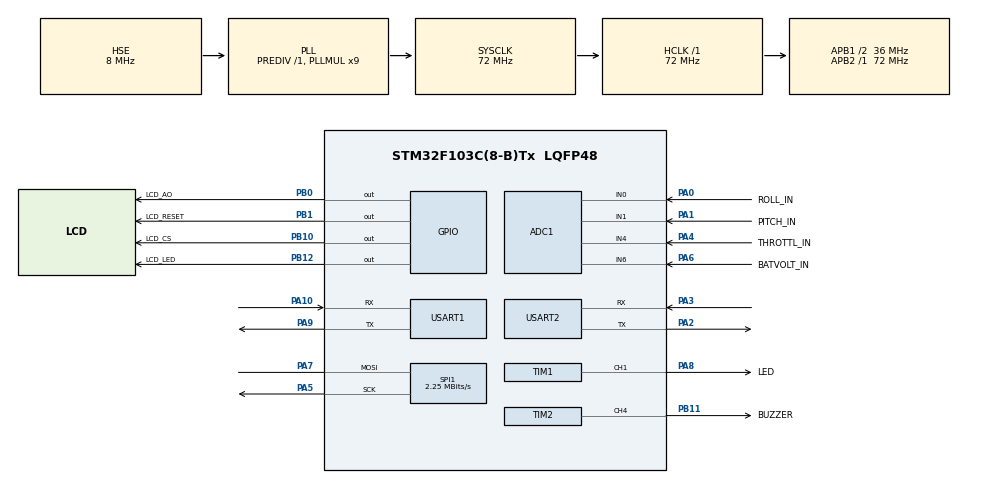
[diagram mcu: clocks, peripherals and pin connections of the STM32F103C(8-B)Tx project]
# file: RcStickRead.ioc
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ADC1.Channel-0\#ChannelRegularConversion=ADC_CHANNEL_0
ADC1.Channel-1\#ChannelRegularConversion=ADC_CHANNEL_1
ADC1.Channel-2\#ChannelRegularConversion=ADC_CHANNEL_4
ADC1.Channel-3\#ChannelRegularConversion=ADC_CHANNEL_6
ADC1.ContinuousConvMode=DISABLE
ADC1.DataAlign=ADC_DATAALIGN_RIGHT
ADC1.DiscontinuousConvMode=DISABLE
ADC1.EnableAnalogWatchDog=false
ADC1.EnableRegularConversion=ENABLE
ADC1.ExternalTrigConvEdgeChoice=NONE
ADC1.InjNumberOfConversion=0
ADC1.NbrOfConversion=4
ADC1.NbrOfConversionFlag=1
ADC1.Rank-0\#ChannelRegularConversion=1
ADC1.Rank-1\#ChannelRegularConversion=2
ADC1.Rank-2\#ChannelRegularConversion=3
ADC1.Rank-3\#ChannelRegularConversion=4
ADC1.SamplingTime-0\#ChannelRegularConversion=ADC_SAMPLETIME_1CYCLE_5
ADC1.SamplingTime-1\#ChannelRegularConversion=ADC_SAMPLETIME_1CYCLE_5
ADC1.SamplingTime-2\#ChannelRegularConversion=ADC_SAMPLETIME_1CYCLE_5
ADC1.SamplingTime-3\#ChannelRegularConversion=ADC_SAMPLETIME_1CYCLE_5
ADC1.ScanConvMode=ADC_SCAN_ENABLE
ADC1.master=1
Dma.ADC1.0.Direction=DMA_PERIPH_TO_MEMORY
Dma.ADC1.0.Instance=DMA1_Channel1
Dma.ADC1.0.MemDataAlignment=DMA_MDATAALIGN_WORD
Dma.ADC1.0.MemInc=DMA_MINC_ENABLE
Dma.ADC1.0.Mode=DMA_NORMAL
Dma.ADC1.0.PeriphDataAlignment=DMA_PDATAALIGN_WORD
Dma.ADC1.0.PeriphInc=DMA_PINC_DISABLE
Dma.ADC1.0.Priority=DMA_PRIORITY_LOW
Dma.Request0=ADC1
Mcu.Family=STM32F1
Mcu.Name=STM32F103C(8-B)Tx
Mcu.Package=LQFP48
NVIC.DMA1_Channel1_IRQn=true\:0\:0\:false\:false\:true
NVIC.PriorityGroup=NVIC_PRIORITYGROUP_4
NVIC.USART1_IRQn=true\:0\:0\:false\:false\:true
PA0-WKUP.GPIO_Label=ROLL_IN
PA0-WKUP.Signal=ADCx_IN0
PA1.GPIO_Label=PITCH_IN
PA1.Signal=ADCx_IN1
PA10.Mode=Asynchronous
PA10.Signal=USART1_RX
PA13.Mode=Serial_Wire
PA13.Signal=SYS_JTMS-SWDIO
PA14.Mode=Serial_Wire
PA14.Signal=SYS_JTCK-SWCLK
PA2.Mode=Asynchronous
PA2.Signal=USART2_TX
PA3.Mode=Asynchronous
PA3.Signal=USART2_RX
PA4.GPIO_Label=THROTTL_IN
PA4.Signal=ADCx_IN4
PA5.Mode=Simplex_Bidirectional_Master
PA5.Signal=SPI1_SCK
PA6.GPIO_Label=BATVOLT_IN
PA6.Signal=ADCx_IN6
PA7.Mode=Simplex_Bidirectional_Master
PA7.Signal=SPI1_MOSI
PA8.GPIO_Label=LED
PA8.GPIO_Speed=GPIO_SPEED_FREQ_HIGH
PA8.Signal=S_TIM1_CH1
PA9.Mode=Asynchronous
PA9.Signal=USART1_TX
PB0.GPIO_Label=LCD_AO
PB0.Signal=GPIO_Output
PB1.GPIO_Label=LCD_RESET
PB1.PinState=GPIO_PIN_SET
PB1.Signal=GPIO_Output
PB10.GPIO_Label=LCD_CS
PB10.GPIO_Speed=GPIO_SPEED_FREQ_MEDIUM
PB10.PinState=GPIO_PIN_SET
PB10.Signal=GPIO_Output
PB11.GPIO_Label=BUZZER
PB11.GPIO_Speed=GPIO_SPEED_FREQ_HIGH
PB11.Signal=S_TIM2_CH4
PB12.GPIO_Label=LCD_LED
PB12.PinState=GPIO_PIN_SET
PB12.Signal=GPIO_Output
PC14-OSC32_IN.Mode=LSE-External-Oscillator
PC14-OSC32_IN.Signal=RCC_OSC32_IN
PC15-OSC32_OUT.Mode=LSE-External-Oscillator
PC15-OSC32_OUT.Signal=RCC_OSC32_OUT
PD0-OSC_IN.Mode=HSE-External-Oscillator
PD0-OSC_IN.Signal=RCC_OSC_IN
PD1-OSC_OUT.Mode=HSE-External-Oscillator
PD1-OSC_OUT.Signal=RCC_OSC_OUT
ProjectManager.HeapSize=0x200
ProjectManager.StackSize=0x400
ProjectManager.TargetToolchain=MDK-ARM V5
RCC.ADCPresc=RCC_ADCPCLK2_DIV6
RCC.AHBFreq_Value=72000000
RCC.APB1CLKDivider=RCC_HCLK_DIV2
RCC.APB1Freq_Value=36000000
RCC.APB1TimFreq_Value=72000000
RCC.APB2Freq_Value=72000000
RCC.APB2TimFreq_Value=72000000
RCC.HCLKFreq_Value=72000000
RCC.HSIState=RCC_HSI_ON
RCC.PLLMUL=RCC_PLL_MUL9
RCC.PLLSourceVirtual=RCC_PLLSOURCE_HSE
RCC.SYSCLKFreq_VALUE=72000000
RCC.SYSCLKSource=RCC_SYSCLKSOURCE_PLLCLK
RCC.USBFreq_Value=72000000
SH.ADCx_IN0.0=ADC1_IN0,IN0
SH.ADCx_IN1.0=ADC1_IN1,IN1
SH.ADCx_IN4.0=ADC1_IN4,IN4
SH.ADCx_IN6.0=ADC1_IN6,IN6
SH.S_TIM1_CH1.0=TIM1_CH1,PWM Generation1 CH1
SH.S_TIM2_CH4.0=TIM2_CH4,PWM Generation4 CH4
SPI1.BaudRatePrescaler=SPI_BAUDRATEPRESCALER_32
SPI1.CalculateBaudRate=2.25 MBits/s
SPI1.Direction=SPI_DIRECTION_1LINE
SPI1.Mode=SPI_MODE_MASTER
TIM1.ClockDivision=TIM_CLOCKDIVISION_DIV4
TIM1.Period=1000
TIM1.Prescaler=72
TIM1.Pulse-PWM\ Generation1\ CH1=300
TIM2.Channel-PWM\ Generation4\ CH4=TIM_CHANNEL_4
TIM2.ClockDivision=TIM_CLOCKDIVISION_DIV1
TIM2.Period=1000
TIM2.Prescaler=72
TIM2.Pulse-PWM\ Generation4\ CH4=500
VP_TIM1_VS_ClockSourceINT.Mode=Internal
VP_TIM2_VS_ClockSourceINT.Mode=Internal
board=RcStickRead

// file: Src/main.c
/**
  ******************************************************************************
  * File Name          : main.c
  * Description        : Main program body
  ******************************************************************************
  *
  * COPYRIGHT(c) 2016 STMicroelectronics
  *
  * Redistribution and use in source and binary forms, with or without modification,
  * are permitted provided that the following conditions are met:
  *   1. Redistributions of source code must retain the above copyright notice,
  *      this list of conditions and the following disclaimer.
  *   2. Redistributions in binary form must reproduce the above copyright notice,
  *      this list of conditions and the following disclaimer in the documentation
  *      and/or other materials provided with the distribution.
  *   3. Neither the name of STMicroelectronics nor the names of its contributors
  *      may be used to endorse or promote products derived from this software
  *      without specific prior written permission.
  *
  * THIS SOFTWARE IS PROVIDED BY THE COPYRIGHT HOLDERS AND CONTRIBUTORS "AS IS"
  * AND ANY EXPRESS OR IMPLIED WARRANTIES, INCLUDING, BUT NOT LIMITED TO, THE
  * IMPLIED WARRANTIES OF MERCHANTABILITY AND FITNESS FOR A PARTICULAR PURPOSE ARE
  * DISCLAIMED. IN NO EVENT SHALL THE COPYRIGHT HOLDER OR CONTRIBUTORS BE LIABLE
  * FOR ANY DIRECT, INDIRECT, INCIDENTAL, SPECIAL, EXEMPLARY, OR CONSEQUENTIAL
  * DAMAGES (INCLUDING, BUT NOT LIMITED TO, PROCUREMENT OF SUBSTITUTE GOODS OR
  * SERVICES; LOSS OF USE, DATA, OR PROFITS; OR BUSINESS INTERRUPTION) HOWEVER
  * CAUSED AND ON ANY THEORY OF LIABILITY, WHETHER IN CONTRACT, STRICT LIABILITY,
  * OR TORT (INCLUDING NEGLIGENCE OR OTHERWISE) ARISING IN ANY WAY OUT OF THE USE
  * OF THIS SOFTWARE, EVEN IF ADVISED OF THE POSSIBILITY OF SUCH DAMAGE.
  *
  ******************************************************************************
  */
#include "stm32f1xx_hal.h"

/* USER CODE BEGIN Includes */
#include "string.h"
#include "data_type.h"
#include "lcd.h"
/* USER CODE END Includes */

ADC_HandleTypeDef hadc1;
DMA_HandleTypeDef hdma_adc1;

SPI_HandleTypeDef hspi1;

TIM_HandleTypeDef htim1;
TIM_HandleTypeDef htim2;

UART_HandleTypeDef huart1;
UART_HandleTypeDef huart2;

/* USER CODE BEGIN PV */
/* Private variables ---------------------------------------------------------*/
#define RECEIVE_OUTTIME 100
#define TRANSMIT_OUTTIME 100

/* ADC定义 */
#define ADCCONVERTEDVALUES_BUFFER_SIZE 4
#define ADC_Uref    3.3

/* 摇杆定义 */
#define   RC_STICK_ROLL_U_MAX   2.70
#define   RC_STICK_ROLL_U_MID   1.72
#define   RC_STICK_ROLL_U_MIN   0.74

#define   RC_STICK_PITCH_U_MAX   2.67
#define   RC_STICK_PITCH_U_MID   1.63
#define   RC_STICK_PITCH_U_MIN   0.54

#define   RC_STICK_THROTTLE_U_MAX   2.70
#define   RC_STICK_THROTTLE_U_MID   0.72
#define   RC_STICK_THROTTLE_U_MIN   0.00

/* 定义最大仿真范围 */
#define RADIUS_MAX    300
#define HIGHT_MAX    500

/* 方向偏移量设定 */
#define   X_OFFSET  80
#define   Y_OFFSET  10
#define   Z_OFFSET  -80

/* ADC采集值保存 */
uint32_t adc_value[ADCCONVERTEDVALUES_BUFFER_SIZE];

/* 低报警电压 */
#define V_BAT_LOW 3.4

/* 延时时间，可通过串口更新 */
uint8_t   gDelayTime=10;

/* USER CODE END PV */

void SystemClock_Config(void);
void Error_Handler(void);
static void MX_GPIO_Init(void);
static void MX_DMA_Init(void);
static void MX_ADC1_Init(void);
static void MX_USART1_UART_Init(void);
static void MX_USART2_UART_Init(void);
static void MX_SPI1_Init(void);
static void MX_TIM1_Init(void);
static void MX_TIM2_Init(void);

void HAL_TIM_MspPostInit(TIM_HandleTypeDef *htim);

/* USER CODE BEGIN PFP */
/* Private function prototypes -----------------------------------------------*/

/* USER CODE END PFP */

/* USER CODE BEGIN 0 */

/*************************************************************
* @brief 开启/关闭蜂鸣器
* @param value: 音量等级 0-1000
* @retval none
**************************************************************/
void BuzzerControl(uint16_t value)
{
  if( value)
  {
    /* Timer Output Compare Configuration Structure declaration */
    TIM_OC_InitTypeDef sConfig;

    sConfig.OCMode       = TIM_OCMODE_PWM1;
    sConfig.OCPolarity   = TIM_OCPOLARITY_HIGH;
    sConfig.OCFastMode   = TIM_OCFAST_DISABLE;
    sConfig.OCNPolarity  = TIM_OCNPOLARITY_HIGH;
    sConfig.OCNIdleState = TIM_OCNIDLESTATE_RESET;

    sConfig.OCIdleState  = TIM_OCIDLESTATE_RESET;

    /* Set the pulse value for channel 1 */
    sConfig.Pulse = value;
    if (HAL_TIM_PWM_ConfigChannel(&htim2, &sConfig, TIM_CHANNEL_4) != HAL_OK)
    {
      /* Configuration Error */
      Error_Handler();
    }

    /* Start channel 1 */
    if(HAL_TIM_PWM_Start(&htim2, TIM_CHANNEL_4) != HAL_OK)
    {
      /* Starting Error */
      Error_Handler();
    }
  }
  else
  {
        /* Stop channel 1 */
    if(HAL_TIM_PWM_Stop(&htim2, TIM_CHANNEL_4) != HAL_OK)
    {
      /* Starting Error */
      Error_Handler();
    }

  }
}

/*************************************************************
* @brief 开启/关闭LED等
* @param value: 0-1000，调节LED 亮度
* @retval none
**************************************************************/
void LEDControl(uint16_t value)
{
  if( value)
  {
    /* Timer Output Compare Configuration Structure declaration */
    TIM_OC_InitTypeDef sConfig;

    sConfig.OCMode       = TIM_OCMODE_PWM1;
    sConfig.OCPolarity   = TIM_OCPOLARITY_HIGH;
    sConfig.OCFastMode   = TIM_OCFAST_DISABLE;
    sConfig.OCNPolarity  = TIM_OCNPOLARITY_HIGH;
    sConfig.OCNIdleState = TIM_OCNIDLESTATE_RESET;

    sConfig.OCIdleState  = TIM_OCIDLESTATE_RESET;

    /* Set the pulse value for channel 1 */
    sConfig.Pulse = value;
    if (HAL_TIM_PWM_ConfigChannel(&htim1, &sConfig, TIM_CHANNEL_1) != HAL_OK)
    {
      /* Configuration Error */
      Error_Handler();
    }

    /* Start channel 1 */
    if(HAL_TIM_PWM_Start(&htim1, TIM_CHANNEL_1) != HAL_OK)
    {
      /* Starting Error */
      Error_Handler();
    }
  }
  else
  {
        /* Stop channel 1 */
    if(HAL_TIM_PWM_Stop(&htim1, TIM_CHANNEL_1) != HAL_OK)
    {
      /* Starting Error */
      Error_Handler();
    }

  }
}

/*************************************************************
* @brief BSP_USART_SendData 串口发送字符
* @param ch:待发送字符
* @arg
* @retval 发送成功标志位
**************************************************************/
HAL_StatusTypeDef BSP_USART_SendData(UART_HandleTypeDef *huart, uint8_t ch)
{

  /*等待上次发送完成*/
  while( (HAL_UART_STATE_BUSY_TX == HAL_UART_GetState(huart) )||(HAL_UART_STATE_BUSY_TX_RX == HAL_UART_GetState(huart)) );

  /*开始发送数据-阻塞方式*/
  if( HAL_UART_Transmit(huart, &ch, 1,TRANSMIT_OUTTIME) == HAL_UART_STATE_TIMEOUT )
    return HAL_TIMEOUT; /*发送超时*/

  return HAL_OK;
}

/*************************************************************
* @brief BSP_USART_SendArray 串口发送字符串
* @param ptr:待发送数组，size：发送的字节数
* @arg
* @retval 发送状态标识
**************************************************************/
HAL_StatusTypeDef BSP_USART_SendArray(UART_HandleTypeDef *huart,  uint8_t* ptr,uint16_t size)
{
  if(NULL == ptr)
    return HAL_ERROR;

  if(size)
  {
    /*等待上次发送完成*/
    while( (HAL_UART_STATE_BUSY_TX == HAL_UART_GetState(huart) )||(HAL_UART_STATE_BUSY_TX_RX == HAL_UART_GetState(huart)) );

    /*开始发送数据-阻塞方式*/
    if( HAL_UART_Transmit(huart, ptr, size,TRANSMIT_OUTTIME) == HAL_UART_STATE_TIMEOUT )
      return HAL_TIMEOUT; /*发送超时*/

  }

  return HAL_OK;
}

/*************************************************************
* @brief BSP_USART_SendData 串口接收一个字符
* @param
* @arg
* @retval ch: 返回接收到的字符
**************************************************************/
uint8_t BSP_USART_ReceiveData(UART_HandleTypeDef *huart )
{
  uint8_t ch;

  /*等待上次接收完成*/
  while( (HAL_UART_STATE_BUSY_RX == HAL_UART_GetState(huart) )||(HAL_UART_STATE_BUSY_TX_RX  == HAL_UART_GetState(huart)) );

  /*开始接收数据*/
  if( HAL_UART_STATE_TIMEOUT  ==  HAL_UART_Receive(huart, &ch, 1,RECEIVE_OUTTIME) )
    return 0;//HAL_TIMEOUT; /*接收超时，返回0*/

  return ch;
}

/*************************************************************
* @brief BSP_USART_ReceiveArray 串口发送字符
* @param huart：句柄，ptr:待存放数组，size：发送的字节数
* @arg
* @retval 接收状态标识
**************************************************************/
HAL_StatusTypeDef BSP_USART_ReceiveArray(UART_HandleTypeDef *huart,  uint8_t* ptr,uint16_t size)
{
  if(NULL == ptr)
    return HAL_ERROR;

  if(size)
  {
    /*等待上次接收完成*/
    while( (HAL_UART_STATE_BUSY_RX == HAL_UART_GetState(huart) )||(HAL_UART_STATE_BUSY_TX_RX  == HAL_UART_GetState(huart)) );

    /*开始接收数据*/
    if(HAL_UART_STATE_TIMEOUT  ==  HAL_UART_Receive(huart, ptr, size ,RECEIVE_OUTTIME) )
      return HAL_TIMEOUT;//; /*接收超时，返回0*/

  }

  return HAL_OK;
}

/*
 * 函数名：fputc
 * 描述  ：重定向c库函数printf到USART1
 * 输入  ：无
 * 输出  ：无
 * 调用  ：由printf调用
 */
int fputc(int ch, FILE *f)
{

  /* 将Printf内容发往串口 */
  BSP_USART_SendData( &huart1, ch );

	return (ch);
}

/**
  * @brief  对数据进行校验，获取校验值
  * @param  ptr: 待校验数据指针
  * @param  len: 待校验数据长度
  *
  * @retval uint8_t: 校验值
  */
uint8_t doSumCheck(uint8_t* ptr, uint8_t len )
{
  uint8_t sum;
  uint8_t i;

  sum = 0;
  for ( i=0;i<len;i++ )
  {
    sum += *ptr++;
  }

  return sum;
}

/**
  * @brief  将数据 SensorData_t 发送出去
  * @param  SensorData:  待发送的数据内容
  *
  * @retval 无（死循环）
  */
void DataParse_PutData(SensorData_t* SensorData)
{
  Protocol_SensorPack_t Protocol_SensorPack;

  /* 填写帧文件头 */
  Protocol_SensorPack.header0 = SENSOR_PROTOCOL_PACK_HEADER0;
  Protocol_SensorPack.header1 = SENSOR_PROTOCOL_PACK_HEADER1;

  /* 填写帧数据区长度字段*/
  Protocol_SensorPack.length      = SENSOR_PROTOCOL_PACK_MAX_DATA_LEN ;

  /* 将要发送的数据复制到数据区 */
  memcpy( &Protocol_SensorPack.sensor_data, SensorData, Protocol_SensorPack.length );

  /* 计算并填写校验字 */
  Protocol_SensorPack.sum = doSumCheck( (uint8_t*)&Protocol_SensorPack.sensor_data, Protocol_SensorPack.length );

  /* 数据发送 */
  BSP_USART_SendArray( &huart2,  (uint8_t*)&Protocol_SensorPack, SENSOR_PROTOCOL_PACK_MAX_SIZE );

}

/*显示信息*/
void  LCD_DispData( SensorData_t* SensorData)
{
  BACK_COLOR  = LCD_COLOR_WHITE;
  POINT_COLOR = LCD_COLOR_DARKBLUE;

  LCD_ShowString(10,70,"X:");
  LCD_ShowString(10,90,"Y:");
  LCD_ShowString(10,110,"Z:");

  if( SensorData->x < 0 )
  {
    LCD_ShowChar(40,70,'-',0);
    SensorData->x = -SensorData->x;
  }else
  {
    LCD_ShowChar(40,70,' ',0);
  }

  if( SensorData->y < 0 )
  {
    LCD_ShowChar(40,90,'-',0);
    SensorData->y = -SensorData->y;
  }
  else
  {
    LCD_ShowChar(40,90,' ',0);
  }

  if( SensorData->z < 0 )
  {
    LCD_ShowChar(40,110,'-',0);
    SensorData->z = -SensorData->z;
  }
  else
  {
    LCD_ShowChar(40,110,' ',0);
  }
  LCD_ShowNum(50, 70, SensorData->x ,3 );
  LCD_ShowNum(50, 90, SensorData->y ,3 );
  LCD_ShowNum(50, 110, SensorData->z ,3 );
}

/*  */

/*************************************************************
* @brief 读取摇杆状态，输出模拟坐标值
* @param pSensorData: 数据保存位置
* @retval float 返回电池电压值，如果该值不为0，可以证明本次执行正常
**************************************************************/
float  ReadRcStick( SensorData_t* pSensorData )
{
    uint32_t adc_value_roll;
    uint32_t adc_value_pitch;
    uint32_t adc_value_throttle;
    uint32_t adc_value_vbat;

    float u_roll;
    float u_pitch;
    float u_throttle;
    float u_vbat;

      /* 连续采集 NUM_SAMPLES 次数据，计算平均值 */
#define NUM_SAMPLES   10
    adc_value_roll     = 0;
    adc_value_pitch    = 0;
    adc_value_throttle = 0;
    adc_value_vbat = 0;

    uint16_t i;
    for(i=0;i<NUM_SAMPLES;i++)
    {
      /* 读ADC值 */
      HAL_ADC_Start_DMA( &hadc1,adc_value,ADCCONVERTEDVALUES_BUFFER_SIZE);
      adc_value_roll     += adc_value[0];
      adc_value_pitch    += adc_value[1];
      adc_value_throttle += adc_value[2];
      adc_value_vbat += adc_value[3];
//      HAL_Delay(1);
    }
    adc_value_roll     /= NUM_SAMPLES;
    adc_value_pitch    /= NUM_SAMPLES;
    adc_value_throttle /= NUM_SAMPLES;
    adc_value_vbat     /= NUM_SAMPLES;

    /* 数据转换 */
    u_roll      = ( (adc_value_roll*ADC_Uref/4096    ) ) ;
    u_pitch     = ( (adc_value_pitch*ADC_Uref/4096   ) ) ;
    u_throttle  = ( (adc_value_throttle*ADC_Uref/4096) ) ;    //0.45为固定偏移量
    u_vbat  = ( 2*(adc_value_vbat*ADC_Uref/4096) ) ;          //采集前经过分压

    /* 打印结果 */
//    printf("AdcData=(%f,%f,%f)\n", u_roll, u_pitch, u_throttle);

    /* 数据转换 */
    if( u_roll > RC_STICK_ROLL_U_MID)
    {
      pSensorData->x  = (int16_t)(RADIUS_MAX*(u_roll    -  RC_STICK_ROLL_U_MID    )/( RC_STICK_ROLL_U_MAX  -  RC_STICK_ROLL_U_MID      ) );
    }else
    {
      pSensorData->x  = (int16_t)(RADIUS_MAX*(u_roll    -  RC_STICK_ROLL_U_MID    )/( RC_STICK_ROLL_U_MID  - RC_STICK_ROLL_U_MIN       ) );
    }

    if( u_pitch > RC_STICK_PITCH_U_MID)
    {
      pSensorData->y  = (int16_t)(RADIUS_MAX*(u_pitch   -  RC_STICK_PITCH_U_MID    )/( RC_STICK_PITCH_U_MAX  -  RC_STICK_PITCH_U_MID  ) );
    }else
    {
      pSensorData->y  = (int16_t)(RADIUS_MAX*(u_pitch   -  RC_STICK_PITCH_U_MID    )/( RC_STICK_PITCH_U_MID  - RC_STICK_PITCH_U_MIN    ) );
    }

    if( u_throttle > RC_STICK_THROTTLE_U_MIN)
    {
      pSensorData->z  = (int16_t)( HIGHT_MAX*(u_throttle )/( RC_STICK_THROTTLE_U_MAX ) );
    }

    /* TODO::根据设定的平移量调整 */
    pSensorData->x += X_OFFSET ;
    pSensorData->y += Y_OFFSET ;
    pSensorData->z += Z_OFFSET ;

    return u_vbat;
}

/* 上电检查摇杆状态，如果摇杆默认偏移较大，不予启动 */
void CheckRcStick(SensorData_t* pSensorData)
{
  uint16_t counter;
  uint8_t flg;

  counter = 0;
  flg = 0;
  while(1)
  {
    /* 读ADC值 */
    ReadRcStick( pSensorData );
    if( 0==counter%500 )
    {
      LCD_DispData( pSensorData);
    }
    else  if( 0==counter%800 )
    {
      if(flg)
      {
        POINT_COLOR = LCD_COLOR_RED;
        LCD_ShowString(0,50,"Adjust Stick!!");
        flg = 0;
      }else
      {
        POINT_COLOR = LCD_COLOR_RED;
        LCD_ShowString(0,50,"              ");
        flg = 1;
      }

    }

    /* 判断输出位置是否合适 */
    if( (pSensorData->z < 150) || (pSensorData->z > HIGHT_MAX) )
    {
      LEDControl( ((counter%500)/250)*10 );
      BuzzerControl(counter%999+1);
    }else if( ( pSensorData->y > 50)||( pSensorData->y <(-50)))
    {
      LEDControl( ((counter%500)/250)*10 );
      BuzzerControl(counter%999+1);
    }else if( (pSensorData->x > 50)||(pSensorData->x <-50))
    {
      LEDControl( ((counter%500)/250)*10 );
      BuzzerControl(counter%999+1);
    }
    else
    {
      LEDControl( 0 );
      BuzzerControl(0);

      POINT_COLOR = LCD_COLOR_RED;
      LCD_ShowString(0,50,"              ");
      break;
    }

    counter++;

  }
}

/* USER CODE END 0 */

int main(void)
{

  /* USER CODE BEGIN 1 */
  SensorData_t last_SensorData;
  SensorData_t SensorData;
  uint32_t tickstart = 0;
  uint32_t tickStickChanged = 0;
  uint8_t  StateIndicateFlag;
  float vbat;               /* 电池电压 */

  /* USER CODE END 1 */

  /* MCU Configuration----------------------------------------------------------*/

  /* Reset of all peripherals, Initializes the Flash interface and the Systick. */
  HAL_Init();

  /* Configure the system clock */
  SystemClock_Config();

  /* Initialize all configured peripherals */
  MX_GPIO_Init();
  MX_DMA_Init();
  MX_ADC1_Init();
  MX_USART1_UART_Init();
  MX_USART2_UART_Init();
  MX_SPI1_Init();
  MX_TIM1_Init();
  MX_TIM2_Init();

  /* USER CODE BEGIN 2 */
  HAL_UART_Receive_IT(&huart1,&gDelayTime,1);

  Lcd_Init();   //tft初始化
  LCD_Clear( LCD_COLOR_WHITE ); //清屏
  BACK_COLOR  = LCD_COLOR_BLACK;
  POINT_COLOR = LCD_COLOR_WHITE;
  LCD_ShowString(8,0,"COORDINATE");
  LCD_ShowString(40,16,"SIMULATION");
  BACK_COLOR  = LCD_COLOR_WHITE;
  POINT_COLOR = LCD_COLOR_BLACK;
  LCD_ShowString(0,32,"===============");

  /* 检查摇杆范围 */
  CheckRcStick( &SensorData );

  /* USER CODE END 2 */

  /* Infinite loop */
  while (1)
  {

  /* USER CODE BEGIN 3 */

    /* 读ADC值 */
    vbat = ReadRcStick( &SensorData );

    /* TODO::此处仅为了测试处理 */
    SensorData.x = -SensorData.x;
    SensorData.y = -SensorData.y;
    SensorData.z =  SensorData.z;

    /* 发送数据 */
    DataParse_PutData(&SensorData);
    printf("SensorData=(%d,%d,%d)\n",SensorData.x,SensorData.y,SensorData.z);
    LCD_DispData( &SensorData);

    /* 摇杆相对位移动作较小，超过60s，自动关闭显示器 */
    if( (HAL_GetTick() - tickStickChanged) > 60000 )
    {
      LCD_ControlLED(0);
    }

    if( ((SensorData.x*SensorData.x + SensorData.y*SensorData.y ) \
      - (last_SensorData.x*last_SensorData.x + last_SensorData.y*last_SensorData.y )) > 80 )
    {
      tickStickChanged = HAL_GetTick();
      LCD_ControlLED(1);
    }

    /* 保存本次测量结果 */
    memcpy( &last_SensorData,&SensorData, sizeof(SensorData_t) );

    /* 运行状态指示 */
    if( (HAL_GetTick() - tickstart) > 2500 )
    {
      tickstart = HAL_GetTick();

      /* 检查系统电量 */
      if( vbat < V_BAT_LOW )
      {

        if(StateIndicateFlag)
        {
          LEDControl( 20 );
          if( vbat < 3.32) BuzzerControl(400);
          POINT_COLOR = LCD_COLOR_RED;
          LCD_ShowString(0,50,"Low Battery!!");

        }else
        {
          LEDControl( 0 );
          if( vbat < 3.4) BuzzerControl(0);
          POINT_COLOR = LCD_COLOR_RED;
          LCD_ShowString(0,50,"             ");
        }
      }
      else
      {
        LEDControl( 10 );
        BuzzerControl(0);
        LCD_ShowString(0,50,"             ");

      }

      StateIndicateFlag = !StateIndicateFlag;
    }

    /* 延时控制 */
    HAL_Delay( gDelayTime*10 );

  }
  /* USER CODE END 3 */

}

/** System Clock Configuration
*/
void SystemClock_Config(void)
{

  RCC_OscInitTypeDef RCC_OscInitStruct;
  RCC_ClkInitTypeDef RCC_ClkInitStruct;
  RCC_PeriphCLKInitTypeDef PeriphClkInit;

  RCC_OscInitStruct.OscillatorType = RCC_OSCILLATORTYPE_HSE;
  RCC_OscInitStruct.HSEState = RCC_HSE_ON;
  RCC_OscInitStruct.HSEPredivValue = RCC_HSE_PREDIV_DIV1;
  RCC_OscInitStruct.PLL.PLLState = RCC_PLL_ON;
  RCC_OscInitStruct.PLL.PLLSource = RCC_PLLSOURCE_HSE;
  RCC_OscInitStruct.PLL.PLLMUL = RCC_PLL_MUL9;
  if (HAL_RCC_OscConfig(&RCC_OscInitStruct) != HAL_OK)
  {
    Error_Handler();
  }

  RCC_ClkInitStruct.ClockType = RCC_CLOCKTYPE_HCLK|RCC_CLOCKTYPE_SYSCLK
                              |RCC_CLOCKTYPE_PCLK1|RCC_CLOCKTYPE_PCLK2;
  RCC_ClkInitStruct.SYSCLKSource = RCC_SYSCLKSOURCE_PLLCLK;
  RCC_ClkInitStruct.AHBCLKDivider = RCC_SYSCLK_DIV1;
  RCC_ClkInitStruct.APB1CLKDivider = RCC_HCLK_DIV2;
  RCC_ClkInitStruct.APB2CLKDivider = RCC_HCLK_DIV1;
  if (HAL_RCC_ClockConfig(&RCC_ClkInitStruct, FLASH_LATENCY_2) != HAL_OK)
  {
    Error_Handler();
  }

  PeriphClkInit.PeriphClockSelection = RCC_PERIPHCLK_ADC;
  PeriphClkInit.AdcClockSelection = RCC_ADCPCLK2_DIV6;
  if (HAL_RCCEx_PeriphCLKConfig(&PeriphClkInit) != HAL_OK)
  {
    Error_Handler();
  }

  HAL_SYSTICK_Config(HAL_RCC_GetHCLKFreq()/1000);

  HAL_SYSTICK_CLKSourceConfig(SYSTICK_CLKSOURCE_HCLK);

  /* SysTick_IRQn interrupt configuration */
  HAL_NVIC_SetPriority(SysTick_IRQn, 0, 0);
}

/* ADC1 init function */
static void MX_ADC1_Init(void)
{

  ADC_ChannelConfTypeDef sConfig;

    /**Common config
    */
  hadc1.Instance = ADC1;
  hadc1.Init.ScanConvMode = ADC_SCAN_ENABLE;
  hadc1.Init.ContinuousConvMode = DISABLE;
  hadc1.Init.DiscontinuousConvMode = DISABLE;
  hadc1.Init.ExternalTrigConv = ADC_SOFTWARE_START;
  hadc1.Init.DataAlign = ADC_DATAALIGN_RIGHT;
  hadc1.Init.NbrOfConversion = 4;
  if (HAL_ADC_Init(&hadc1) != HAL_OK)
  {
    Error_Handler();
  }

    /**Configure Regular Channel
    */
  sConfig.Channel = ADC_CHANNEL_0;
  sConfig.Rank = 1;
  sConfig.SamplingTime = ADC_SAMPLETIME_1CYCLE_5;
  if (HAL_ADC_ConfigChannel(&hadc1, &sConfig) != HAL_OK)
  {
    Error_Handler();
  }

    /**Configure Regular Channel
    */
  sConfig.Channel = ADC_CHANNEL_1;
  sConfig.Rank = 2;
  if (HAL_ADC_ConfigChannel(&hadc1, &sConfig) != HAL_OK)
  {
    Error_Handler();
  }

    /**Configure Regular Channel
    */
  sConfig.Channel = ADC_CHANNEL_4;
  sConfig.Rank = 3;
  if (HAL_ADC_ConfigChannel(&hadc1, &sConfig) != HAL_OK)
  {
    Error_Handler();
  }

    /**Configure Regular Channel
    */
  sConfig.Channel = ADC_CHANNEL_6;
  sConfig.Rank = 4;
  if (HAL_ADC_ConfigChannel(&hadc1, &sConfig) != HAL_OK)
  {
    Error_Handler();
  }

}

/* SPI1 init function */
static void MX_SPI1_Init(void)
{

  hspi1.Instance = SPI1;
  hspi1.Init.Mode = SPI_MODE_MASTER;
  hspi1.Init.Direction = SPI_DIRECTION_1LINE;
  hspi1.Init.DataSize = SPI_DATASIZE_8BIT;
  hspi1.Init.CLKPolarity = SPI_POLARITY_LOW;
  hspi1.Init.CLKPhase = SPI_PHASE_1EDGE;
  hspi1.Init.NSS = SPI_NSS_SOFT;
  hspi1.Init.BaudRatePrescaler = SPI_BAUDRATEPRESCALER_32;
  hspi1.Init.FirstBit = SPI_FIRSTBIT_MSB;
  hspi1.Init.TIMode = SPI_TIMODE_DISABLE;
  hspi1.Init.CRCCalculation = SPI_CRCCALCULATION_DISABLE;
  hspi1.Init.CRCPolynomial = 10;
  if (HAL_SPI_Init(&hspi1) != HAL_OK)
  {
    Error_Handler();
  }

}

/* TIM1 init function */
static void MX_TIM1_Init(void)
{

  TIM_ClockConfigTypeDef sClockSourceConfig;
  TIM_MasterConfigTypeDef sMasterConfig;
  TIM_BreakDeadTimeConfigTypeDef sBreakDeadTimeConfig;
  TIM_OC_InitTypeDef sConfigOC;

  htim1.Instance = TIM1;
  htim1.Init.Prescaler = 72;
  htim1.Init.CounterMode = TIM_COUNTERMODE_UP;
  htim1.Init.Period = 1000;
  htim1.Init.ClockDivision = TIM_CLOCKDIVISION_DIV4;
  htim1.Init.RepetitionCounter = 0;
  if (HAL_TIM_Base_Init(&htim1) != HAL_OK)
  {
    Error_Handler();
  }

  sClockSourceConfig.ClockSource = TIM_CLOCKSOURCE_INTERNAL;
  if (HAL_TIM_ConfigClockSource(&htim1, &sClockSourceConfig) != HAL_OK)
  {
    Error_Handler();
  }

  if (HAL_TIM_PWM_Init(&htim1) != HAL_OK)
  {
    Error_Handler();
  }

  sMasterConfig.MasterOutputTrigger = TIM_TRGO_RESET;
  sMasterConfig.MasterSlaveMode = TIM_MASTERSLAVEMODE_DISABLE;
  if (HAL_TIMEx_MasterConfigSynchronization(&htim1, &sMasterConfig) != HAL_OK)
  {
    Error_Handler();
  }

  sBreakDeadTimeConfig.OffStateRunMode = TIM_OSSR_DISABLE;
  sBreakDeadTimeConfig.OffStateIDLEMode = TIM_OSSI_DISABLE;
  sBreakDeadTimeConfig.LockLevel = TIM_LOCKLEVEL_OFF;
  sBreakDeadTimeConfig.DeadTime = 0;
  sBreakDeadTimeConfig.BreakState = TIM_BREAK_DISABLE;
  sBreakDeadTimeConfig.BreakPolarity = TIM_BREAKPOLARITY_HIGH;
  sBreakDeadTimeConfig.AutomaticOutput = TIM_AUTOMATICOUTPUT_DISABLE;
  if (HAL_TIMEx_ConfigBreakDeadTime(&htim1, &sBreakDeadTimeConfig) != HAL_OK)
  {
    Error_Handler();
  }

  sConfigOC.OCMode = TIM_OCMODE_PWM1;
  sConfigOC.Pulse = 300;
  sConfigOC.OCPolarity = TIM_OCPOLARITY_HIGH;
  sConfigOC.OCNPolarity = TIM_OCNPOLARITY_HIGH;
  sConfigOC.OCFastMode = TIM_OCFAST_DISABLE;
  sConfigOC.OCIdleState = TIM_OCIDLESTATE_RESET;
  sConfigOC.OCNIdleState = TIM_OCNIDLESTATE_RESET;
  if (HAL_TIM_PWM_ConfigChannel(&htim1, &sConfigOC, TIM_CHANNEL_1) != HAL_OK)
  {
    Error_Handler();
  }

  HAL_TIM_MspPostInit(&htim1);

}

/* TIM2 init function */
static void MX_TIM2_Init(void)
{

  TIM_ClockConfigTypeDef sClockSourceConfig;
  TIM_MasterConfigTypeDef sMasterConfig;
  TIM_OC_InitTypeDef sConfigOC;

  htim2.Instance = TIM2;
  htim2.Init.Prescaler = 72;
  htim2.Init.CounterMode = TIM_COUNTERMODE_UP;
  htim2.Init.Period = 1000;
  htim2.Init.ClockDivision = TIM_CLOCKDIVISION_DIV1;
  if (HAL_TIM_Base_Init(&htim2) != HAL_OK)
  {
    Error_Handler();
  }

  sClockSourceConfig.ClockSource = TIM_CLOCKSOURCE_INTERNAL;
  if (HAL_TIM_ConfigClockSource(&htim2, &sClockSourceConfig) != HAL_OK)
  {
    Error_Handler();
  }

  if (HAL_TIM_PWM_Init(&htim2) != HAL_OK)
  {
    Error_Handler();
  }

  sMasterConfig.MasterOutputTrigger = TIM_TRGO_RESET;
  sMasterConfig.MasterSlaveMode = TIM_MASTERSLAVEMODE_DISABLE;
  if (HAL_TIMEx_MasterConfigSynchronization(&htim2, &sMasterConfig) != HAL_OK)
  {
    Error_Handler();
  }

  sConfigOC.OCMode = TIM_OCMODE_PWM1;
  sConfigOC.Pulse = 500;
  sConfigOC.OCPolarity = TIM_OCPOLARITY_HIGH;
  sConfigOC.OCFastMode = TIM_OCFAST_DISABLE;
  if (HAL_TIM_PWM_ConfigChannel(&htim2, &sConfigOC, TIM_CHANNEL_4) != HAL_OK)
  {
    Error_Handler();
  }

  HAL_TIM_MspPostInit(&htim2);

}

/* USART1 init function */
static void MX_USART1_UART_Init(void)
{

  huart1.Instance = USART1;
  huart1.Init.BaudRate = 115200;
  huart1.Init.WordLength = UART_WORDLENGTH_8B;
  huart1.Init.StopBits = UART_STOPBITS_1;
  huart1.Init.Parity = UART_PARITY_NONE;
  huart1.Init.Mode = UART_MODE_TX_RX;
  huart1.Init.HwFlowCtl = UART_HWCONTROL_NONE;
  huart1.Init.OverSampling = UART_OVERSAMPLING_16;
  if (HAL_UART_Init(&huart1) != HAL_OK)
  {
    Error_Handler();
  }

}

/* USART2 init function */
static void MX_USART2_UART_Init(void)
{

  huart2.Instance = USART2;
  huart2.Init.BaudRate = 115200;
  huart2.Init.WordLength = UART_WORDLENGTH_8B;
  huart2.Init.StopBits = UART_STOPBITS_1;
  huart2.Init.Parity = UART_PARITY_NONE;
  huart2.Init.Mode = UART_MODE_TX_RX;
  huart2.Init.HwFlowCtl = UART_HWCONTROL_NONE;
  huart2.Init.OverSampling = UART_OVERSAMPLING_16;
  if (HAL_UART_Init(&huart2) != HAL_OK)
  {
    Error_Handler();
  }

}

static void MX_DMA_Init(void)
{
  /* DMA controller clock enable */
  __HAL_RCC_DMA1_CLK_ENABLE();

  /* DMA interrupt init */
  /* DMA1_Channel1_IRQn interrupt configuration */
  HAL_NVIC_SetPriority(DMA1_Channel1_IRQn, 0, 0);
  HAL_NVIC_EnableIRQ(DMA1_Channel1_IRQn);

}

/** Configure pins as
        * Analog
        * Input
        * Output
        * EVENT_OUT
        * EXTI
*/
static void MX_GPIO_Init(void)
{

  GPIO_InitTypeDef GPIO_InitStruct;

  /* GPIO Ports Clock Enable */
  __HAL_RCC_GPIOC_CLK_ENABLE();
  __HAL_RCC_GPIOD_CLK_ENABLE();
  __HAL_RCC_GPIOA_CLK_ENABLE();
  __HAL_RCC_GPIOB_CLK_ENABLE();

  /*Configure GPIO pin Output Level */
  HAL_GPIO_WritePin(LCD_AO_GPIO_Port, LCD_AO_Pin, GPIO_PIN_RESET);

  /*Configure GPIO pin Output Level */
  HAL_GPIO_WritePin(GPIOB, LCD_RESET_Pin|LCD_CS_Pin|LCD_LED_Pin, GPIO_PIN_SET);

  /*Configure GPIO pins : LCD_AO_Pin LCD_RESET_Pin LCD_LED_Pin */
  GPIO_InitStruct.Pin = LCD_AO_Pin|LCD_RESET_Pin|LCD_LED_Pin;
  GPIO_InitStruct.Mode = GPIO_MODE_OUTPUT_PP;
  GPIO_InitStruct.Speed = GPIO_SPEED_FREQ_LOW;
  HAL_GPIO_Init(GPIOB, &GPIO_InitStruct);

  /*Configure GPIO pin : LCD_CS_Pin */
  GPIO_InitStruct.Pin = LCD_CS_Pin;
  GPIO_InitStruct.Mode = GPIO_MODE_OUTPUT_PP;
  GPIO_InitStruct.Speed = GPIO_SPEED_FREQ_MEDIUM;
  HAL_GPIO_Init(LCD_CS_GPIO_Port, &GPIO_InitStruct);

}

/* USER CODE BEGIN 4 */
/**
  * @brief  接收完成回调函数
  * @param  huart: 指向串口实例.
  * @retval None
  */
void HAL_UART_RxCpltCallback(UART_HandleTypeDef *huart)
{
  if(  USART1 == huart->Instance )
  {
      HAL_UART_Receive_IT(&huart1,&gDelayTime,1);
  }
}

/* USER CODE END 4 */

void Error_Handler(void)
{
  while(1)
  {
  }
}

/************************ (C) COPYRIGHT STMicroelectronics *****END OF FILE****/
